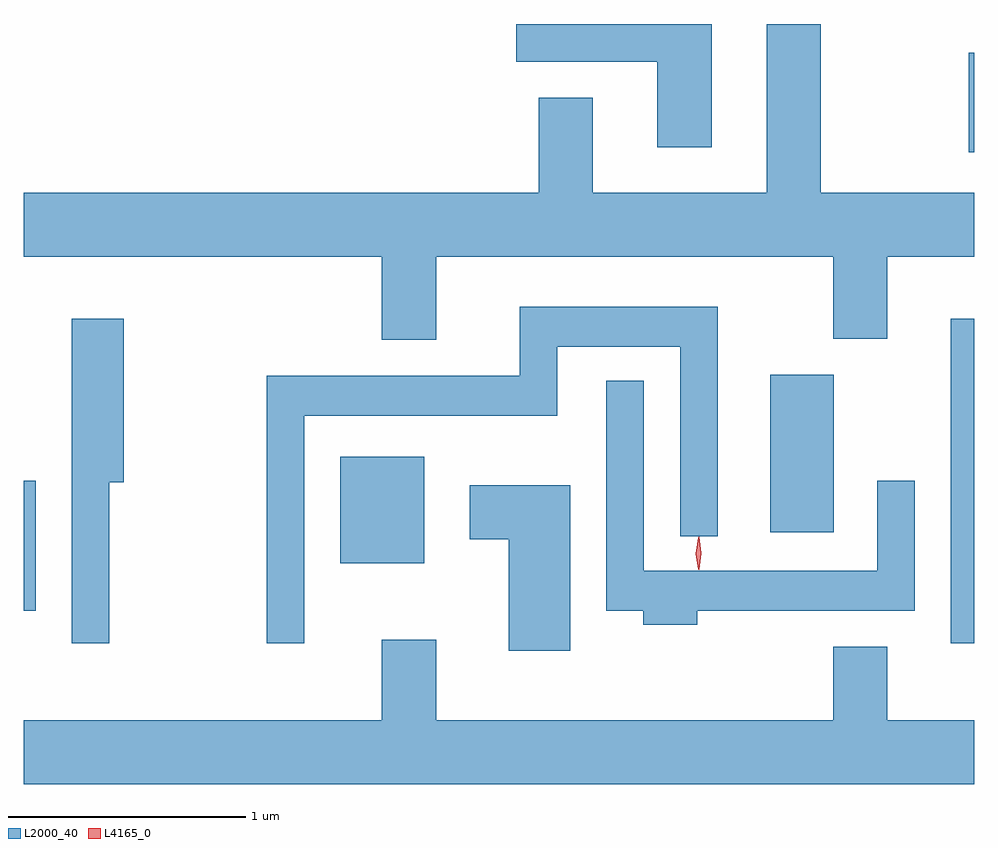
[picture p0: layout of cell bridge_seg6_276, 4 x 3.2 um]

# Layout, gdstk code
import gdstk
lib = gdstk.Library(unit=1e-6, precision=1e-09)
def R(c, l, rs):  # rectangles x0, y0, x1, y1
    for r in rs: c.add(gdstk.rectangle(r[:2], r[2:], *l))
def P(c, l, *ps):  # polygons
    for p in ps: c.add(gdstk.Polygon(p, *l))
L2000_40 = (2000, 40)
L4165_0 = (4165, 0)

bridge_seg6_276 = lib.new_cell('bridge_seg6_276')
R(bridge_seg6_276, L2000_40, [(1248.686,1561.728,1248.784,1563.094), (1244.784,1561.866,1244.834,1562.413), (1246.116,1562.066,1246.469,1562.514), (1247.926,1562.196,1248.194,1562.859), (1248.761,1563.796,1248.784,1564.213)])
P(bridge_seg6_276, L2000_40, [(1244.784,1563.356),(1246.291,1563.356),(1246.291,1563.006),(1246.519,1563.006),(1246.519,1563.356),(1248.191,1563.356),(1248.191,1563.011),(1248.419,1563.011),(1248.419,1563.356),(1248.784,1563.356),(1248.784,1563.624),(1248.139,1563.624),(1248.139,1564.335),(1247.911,1564.335),(1247.911,1563.624),(1247.179,1563.624),(1247.179,1564.024),(1246.951,1564.024),(1246.951,1563.624),(1244.784,1563.624)],
  [(1247.679,1564.335),(1246.856,1564.335),(1246.856,1564.176),(1247.451,1564.176),(1247.451,1563.816),(1247.679,1563.816)],
  [(1245.964,1562.686),(1247.029,1562.686),(1247.029,1562.976),(1247.546,1562.976),(1247.546,1562.178),(1247.704,1562.178),(1247.704,1563.144),(1246.871,1563.144),(1246.871,1562.854),(1245.806,1562.854),(1245.806,1561.728),(1245.964,1561.728)],
  [(1245.144,1562.406),(1245.204,1562.406),(1245.204,1563.094),(1244.986,1563.094),(1244.986,1561.728),(1245.144,1561.728)],
  [(1247.619,1561.866),(1248.534,1561.866),(1248.534,1562.413),(1248.376,1562.413),(1248.376,1562.034),(1247.394,1562.034),(1247.394,1562.833),(1247.236,1562.833),(1247.236,1561.866),(1247.391,1561.866),(1247.391,1561.806),(1247.619,1561.806)],
  [(1247.084,1562.394),(1246.661,1562.394),(1246.661,1562.166),(1246.826,1562.166),(1246.826,1561.696),(1247.084,1561.696)],
  [(1248.784,1561.404),(1248.419,1561.404),(1248.419,1561.714),(1248.191,1561.714),(1248.191,1561.404),(1246.519,1561.404),(1246.519,1561.744),(1246.291,1561.744),(1246.291,1561.404),(1244.784,1561.404),(1244.784,1561.136),(1248.784,1561.136)])
P(bridge_seg6_276, L4165_0, [(1247.625,1562.037),(1247.625,1562.038),(1247.615,1562.107),(1247.625,1562.176),(1247.625,1562.176),(1247.626,1562.176),(1247.635,1562.107),(1247.626,1562.038)],
  [(1247.622,1562.04),(1247.622,1562.04),(1247.613,1562.106),(1247.622,1562.172),(1247.623,1562.173),(1247.623,1562.172),(1247.632,1562.106),(1247.623,1562.04)])

lib.write_gds('bridge_seg6_276.gds')
